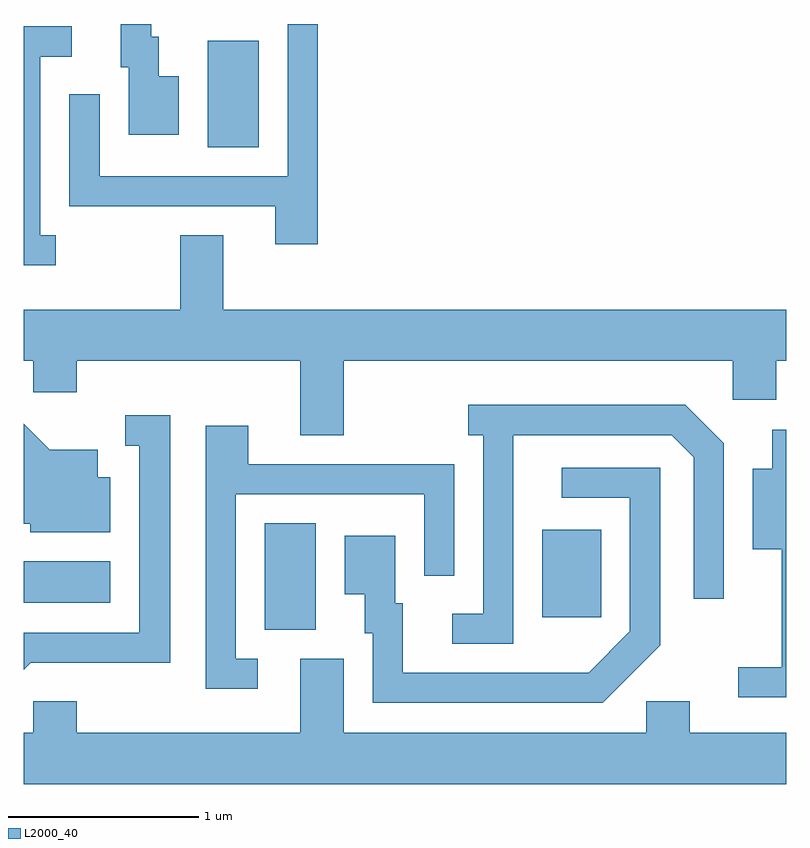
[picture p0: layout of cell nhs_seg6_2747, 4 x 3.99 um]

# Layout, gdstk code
import gdstk
lib = gdstk.Library(unit=1e-6, precision=1e-09)
def R(c, l, rs):  # rectangles x0, y0, x1, y1
    for r in rs: c.add(gdstk.rectangle(r[:2], r[2:], *l))
def P(c, l, *ps):  # polygons
    for p in ps: c.add(gdstk.Polygon(p, *l))
L2000_40 = (2000, 40)

nhs_seg6_2747 = lib.new_cell('nhs_seg6_2747')
R(nhs_seg6_2747, L2000_40, [(268.876,1632.986,269.144,1633.544), (270.331,1633.051,270.639,1633.509), (267.611,1633.126,268.064,1633.344), (268.576,1635.516,268.844,1636.074)])
P(nhs_seg6_2747, L2000_40, [(269.154,1636.162),(268.996,1636.162),(268.996,1635.364),(268.009,1635.364),(268.009,1635.793),(267.851,1635.793),(267.851,1635.206),(268.931,1635.206),(268.931,1635.006),(269.154,1635.006)],
  [(268.424,1635.889),(268.319,1635.889),(268.319,1636.094),(268.279,1636.094),(268.279,1636.162),(268.121,1636.162),(268.121,1635.936),(268.161,1635.936),(268.161,1635.581),(268.424,1635.581)],
  [(267.778,1635.054),(267.699,1635.054),(267.699,1635.991),(267.863,1635.991),(267.863,1636.149),(267.611,1636.149),(267.611,1634.896),(267.778,1634.896)],
  [(269.289,1634.396),(271.331,1634.396),(271.331,1634.191),(271.559,1634.191),(271.559,1634.396),(271.611,1634.396),(271.611,1634.664),(268.659,1634.664),(268.659,1635.054),(268.431,1635.054),(268.431,1634.664),(267.611,1634.664),(267.611,1634.396),(267.661,1634.396),(267.661,1634.231),(267.889,1634.231),(267.889,1634.396),(269.061,1634.396),(269.061,1634.006),(269.289,1634.006)],
  [(270.179,1634.006),(271.009,1634.006),(271.126,1633.889),(271.126,1633.148),(271.284,1633.148),(271.284,1633.962),(271.082,1634.164),(269.943,1634.164),(269.943,1634.006),(270.021,1634.006),(270.021,1633.069),(269.858,1633.069),(269.858,1632.911),(270.179,1632.911)],
  [(267.647,1632.811),(268.379,1632.811),(268.379,1634.109),(268.143,1634.109),(268.143,1633.951),(268.216,1633.951),(268.216,1632.969),(267.611,1632.969),(267.611,1632.775)],
  [(268.064,1633.784),(267.999,1633.784),(267.999,1633.929),(267.747,1633.929),(267.611,1634.065),(267.611,1633.541),(267.646,1633.541),(267.646,1633.496),(268.064,1633.496)],
  [(268.838,1632.834),(268.724,1632.834),(268.724,1633.696),(269.711,1633.696),(269.711,1633.268),(269.869,1633.268),(269.869,1633.854),(268.789,1633.854),(268.789,1634.054),(268.566,1634.054),(268.566,1632.676),(268.838,1632.676)],
  [(271.611,1634.034),(271.536,1634.034),(271.536,1633.829),(271.436,1633.829),(271.436,1633.406),(271.586,1633.406),(271.586,1632.789),(271.358,1632.789),(271.358,1632.631),(271.611,1632.631)],
  [(270.949,1632.904),(270.949,1633.834),(270.433,1633.834),(270.433,1633.676),(270.791,1633.676),(270.791,1632.977),(270.574,1632.759),(269.599,1632.759),(269.599,1633.124),(269.559,1633.124),(269.559,1633.479),(269.296,1633.479),(269.296,1633.171),(269.401,1633.171),(269.401,1632.966),(269.441,1632.966),(269.441,1632.601),(270.647,1632.601)],
  [(271.611,1632.444),(271.104,1632.444),(271.104,1632.609),(270.876,1632.609),(270.876,1632.444),(269.289,1632.444),(269.289,1632.834),(269.061,1632.834),(269.061,1632.444),(267.889,1632.444),(267.889,1632.609),(267.661,1632.609),(267.661,1632.444),(267.611,1632.444),(267.611,1632.176),(271.611,1632.176)])

lib.write_gds('nhs_seg6_2747.gds')
